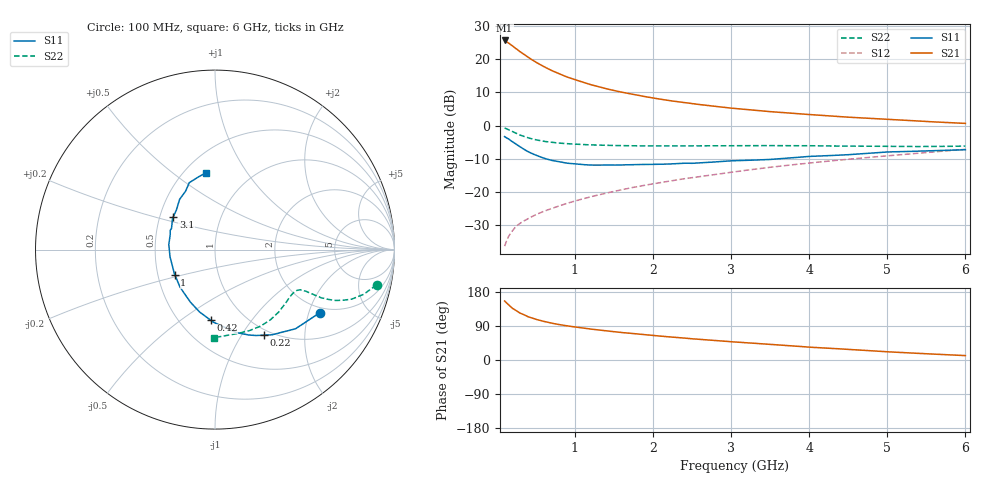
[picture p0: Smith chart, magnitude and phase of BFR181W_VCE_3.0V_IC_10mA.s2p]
! Infineon Technologies  Discrete & RF Semiconductors
! BFR181W
! VCE =  3.0 V,  IC =  10 mA
! Common Emitter S-Parameters:  Nov 2015
# GHz  S  MA  R  50
!  f  S11  S21  S12  S22
! GHz  MAG  ANG  MAG  ANG  MAG  ANG  MAG  ANG
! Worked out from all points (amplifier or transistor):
!   192 points, 100 MHz to 6 GHz, reference 50 ohm
!   highest |S21| = 25.6 dB at 100 MHz (marker M1)
!   |S21| within 3 dB of that: start of sweep to 276.9 MHz
!   unconditionally stable (mu >= 1): 980.4 MHz to 2.944 GHz
!   at 440 MHz: K = 0.72, MSG = 23.8 dB, |S12| = -27.6 dB
!   at 1.7 GHz: K = 1.07, MAG = 12.6 dB, |S12| = -18.9 dB
!   at 6 GHz: K = 0.78, MSG = 3.9 dB, |S12| = -7.2 dB
!   S11 on the Smith chart (normalised r, x): 100 MHz: 1.80, -2.37; 220 MHz: 0.92, -1.26; 420 MHz: 0.70, -0.65; 1 GHz: 0.61, -0.18; 3.1 GHz: 0.59, +0.24; 6 GHz: 0.63, +0.67
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0.1  0.6814 -31.1  19.16 155.6  0.0152 75.3  0.921 -12.3
0.15  0.6293 -44.5  17.57 145.2  0.0212 70.5  0.8656 -16.7
0.2  0.5712 -56.2  15.91 136.6  0.0259 67.5  0.8106 -19.9
0.22  0.5493 -60.2  15.26 133.9  0.0277 66.4  0.7899 -20.7
0.26  0.5122 -68.3  14.05 128.4  0.0311 64.7  0.7507 -22.1
0.3  0.4776 -75.5  12.93 123.5  0.0337 63.4  0.7173 -23.2
0.4  0.4047 -91.2  10.68 114.1  0.0396 62.0  0.652 -24.4
0.42  0.3939 -93.5  10.33 112.9  0.0407 62.2  0.6433 -24.4
0.5  0.3581 -103.9  8.996 107.3  0.0453 62.7  0.6087 -24.5
0.6  0.3234 -115.0  7.739 101.9  0.0509 63.4  0.579 -24.6
0.68  0.3032 -122.5  6.946 98.2  0.0551 64.1  0.5628 -24.6
0.8  0.2855 -133.2  6.012 93.4  0.0614 65.4  0.5435 -24.8
1  0.2649 -148.0  4.907 87.0  0.0728 67.1  0.5244 -25.3
1.1  0.2581 -153.6  4.519 84.5  0.0785 67.6  0.5177 -25.8
1.2  0.2538 -159.4  4.141 81.6  0.0843 68.1  0.511 -26.3
1.5  0.2535 -174.2  3.37 74.7  0.1017 69.1  0.5002 -28.4
2.08  0.2607 165.1  2.511 63.3  0.1372 70.1  0.4929 -33.6
2.5  0.2696 154.0  2.133 56.0  0.164 69.9  0.4938 -38.1
3.1  0.2961 141.6  1.786 46.9  0.2048 68.6  0.4966 -45.9
4.1  0.346 123.5  1.439 32.8  0.2798 64.4  0.4945 -60.6
5.1  0.402 109.4  1.227 20.7  0.358 59.0  0.4832 -76.5
6  0.432 96.4  1.077 11.6  0.4386 53.6  0.4901 -90.5
